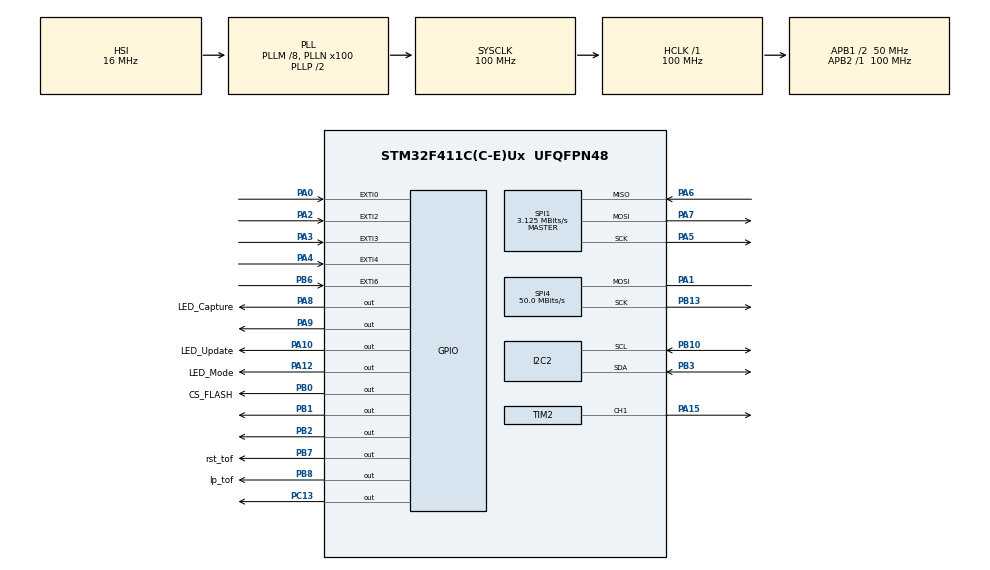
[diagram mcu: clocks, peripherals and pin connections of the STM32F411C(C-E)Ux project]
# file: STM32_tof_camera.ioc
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Dma.I2C2_RX.1.Direction=DMA_PERIPH_TO_MEMORY
Dma.I2C2_RX.1.FIFOMode=DMA_FIFOMODE_DISABLE
Dma.I2C2_RX.1.Instance=DMA1_Stream2
Dma.I2C2_RX.1.MemDataAlignment=DMA_MDATAALIGN_BYTE
Dma.I2C2_RX.1.MemInc=DMA_MINC_ENABLE
Dma.I2C2_RX.1.Mode=DMA_NORMAL
Dma.I2C2_RX.1.PeriphDataAlignment=DMA_PDATAALIGN_BYTE
Dma.I2C2_RX.1.PeriphInc=DMA_PINC_DISABLE
Dma.I2C2_RX.1.Priority=DMA_PRIORITY_HIGH
Dma.Request0=SPI4_TX
Dma.Request1=I2C2_RX
Dma.SPI4_TX.0.Direction=DMA_MEMORY_TO_PERIPH
Dma.SPI4_TX.0.FIFOMode=DMA_FIFOMODE_DISABLE
Dma.SPI4_TX.0.Instance=DMA2_Stream1
Dma.SPI4_TX.0.MemDataAlignment=DMA_MDATAALIGN_BYTE
Dma.SPI4_TX.0.MemInc=DMA_MINC_ENABLE
Dma.SPI4_TX.0.Mode=DMA_NORMAL
Dma.SPI4_TX.0.PeriphDataAlignment=DMA_PDATAALIGN_BYTE
Dma.SPI4_TX.0.PeriphInc=DMA_PINC_DISABLE
Dma.SPI4_TX.0.Priority=DMA_PRIORITY_VERY_HIGH
I2C2.I2C_Mode=I2C_Fast
I2C2.NoStretchMode=I2C_NOSTRETCH_DISABLE
Mcu.Family=STM32F4
Mcu.Name=STM32F411C(C-E)Ux
Mcu.Package=UFQFPN48
NVIC.DMA1_Stream2_IRQn=true\:6\:0\:true\:false\:true\:false\:true\:true
NVIC.DMA2_Stream1_IRQn=true\:9\:0\:true\:false\:true\:false\:true\:true
NVIC.EXTI0_IRQn=true\:12\:0\:true\:false\:true\:true\:true\:true
NVIC.EXTI2_IRQn=true\:13\:0\:true\:false\:true\:true\:true\:true
NVIC.EXTI3_IRQn=true\:11\:0\:true\:false\:true\:true\:true\:true
NVIC.EXTI4_IRQn=true\:10\:0\:true\:false\:true\:true\:true\:true
NVIC.EXTI9_5_IRQn=true\:8\:0\:true\:false\:true\:true\:true\:true
NVIC.I2C2_EV_IRQn=true\:5\:0\:true\:false\:true\:true\:true\:true
NVIC.PriorityGroup=NVIC_PRIORITYGROUP_4
NVIC.RCC_IRQn=true\:5\:0\:true\:false\:true\:true\:false\:true
NVIC.SPI4_IRQn=true\:7\:0\:true\:false\:true\:true\:true\:true
NVIC.TIM1_TRG_COM_TIM11_IRQn=true\:5\:0\:true\:false\:true\:false\:true\:true
NVIC.TimeBase=TIM1_TRG_COM_TIM11_IRQn
NVIC.TimeBaseIP=TIM11
PA0-WKUP.GPIO_ModeDefaultEXTI=GPIO_MODE_IT_FALLING
PA0-WKUP.GPIO_PuPd=GPIO_PULLUP
PA0-WKUP.Signal=GPXTI0
PA1.Mode=Simplex_Bidirectional_Master
PA1.Signal=SPI4_MOSI
PA10.GPIO_Label=LED_Update
PA10.GPIO_PuPd=GPIO_PULLDOWN
PA10.Signal=GPIO_Output
PA12.GPIO_Label=LED_Mode
PA12.GPIO_PuPd=GPIO_PULLDOWN
PA12.GPIO_Speed=GPIO_SPEED_FREQ_VERY_HIGH
PA12.Signal=GPIO_Output
PA13.Mode=Serial_Wire
PA13.Signal=SYS_JTMS-SWDIO
PA14.Mode=Serial_Wire
PA14.Signal=SYS_JTCK-SWCLK
PA15.Signal=S_TIM2_CH1_ETR
PA2.GPIO_ModeDefaultEXTI=GPIO_MODE_IT_FALLING
PA2.GPIO_PuPd=GPIO_PULLUP
PA2.Signal=GPXTI2
PA3.GPIO_ModeDefaultEXTI=GPIO_MODE_IT_FALLING
PA3.GPIO_PuPd=GPIO_PULLUP
PA3.Signal=GPXTI3
PA4.GPIO_ModeDefaultEXTI=GPIO_MODE_IT_FALLING
PA4.GPIO_PuPd=GPIO_PULLUP
PA4.Signal=GPXTI4
PA5.Mode=Full_Duplex_Master
PA5.Signal=SPI1_SCK
PA6.Mode=Full_Duplex_Master
PA6.Signal=SPI1_MISO
PA7.Mode=Full_Duplex_Master
PA7.Signal=SPI1_MOSI
PA8.GPIO_Label=LED_Capture
PA8.GPIO_PuPd=GPIO_PULLDOWN
PA8.Signal=GPIO_Output
PA9.GPIO_Speed=GPIO_SPEED_FREQ_HIGH
PA9.Signal=GPIO_Output
PB0.GPIO_Label=CS_FLASH
PB0.GPIO_PuPd=GPIO_PULLUP
PB0.GPIO_Speed=GPIO_SPEED_FREQ_VERY_HIGH
PB0.Signal=GPIO_Output
PB1.Signal=GPIO_Output
PB10.Mode=I2C
PB10.Signal=I2C2_SCL
PB13.Mode=Simplex_Bidirectional_Master
PB13.Signal=SPI4_SCK
PB2.Signal=GPIO_Output
PB3.GPIO_Pu=GPIO_PULLUP
PB3.Mode=I2C
PB3.Signal=I2C2_SDA
PB6.GPIO_ModeDefaultEXTI=GPIO_MODE_IT_FALLING
PB6.GPIO_PuPd=GPIO_NOPULL
PB6.Signal=GPXTI6
PB7.GPIO_Label=rst_tof
PB7.GPIO_PuPd=GPIO_NOPULL
PB7.GPIO_Speed=GPIO_SPEED_FREQ_VERY_HIGH
PB7.Signal=GPIO_Output
PB8.GPIO_Label=lp_tof
PB8.Signal=GPIO_Output
PC13-ANTI_TAMP.GPIO_PuPd=GPIO_NOPULL
PC13-ANTI_TAMP.Signal=GPIO_Output
PC14-OSC32_IN.Mode=LSE-External-Oscillator
PC14-OSC32_IN.Signal=RCC_OSC32_IN
PC15-OSC32_OUT.Mode=LSE-External-Oscillator
PC15-OSC32_OUT.Signal=RCC_OSC32_OUT
PH0\ -\ OSC_IN.Mode=HSE-External-Oscillator
PH0\ -\ OSC_IN.Signal=RCC_OSC_IN
PH1\ -\ OSC_OUT.Mode=HSE-External-Oscillator
PH1\ -\ OSC_OUT.Signal=RCC_OSC_OUT
ProjectManager.HeapSize=0x200
ProjectManager.StackSize=0x400
ProjectManager.TargetToolchain=STM32CubeIDE
RCC.48MHZClocksFreq_Value=50000000
RCC.AHBFreq_Value=100000000
RCC.APB1CLKDivider=RCC_HCLK_DIV2
RCC.APB1Freq_Value=50000000
RCC.APB1TimFreq_Value=100000000
RCC.APB2Freq_Value=100000000
RCC.APB2TimFreq_Value=100000000
RCC.CortexFreq_Value=100000000
RCC.HCLKFreq_Value=100000000
RCC.HSE_VALUE=25000000
RCC.HSI_VALUE=16000000
RCC.PLLM=8
RCC.PLLN=100
RCC.SYSCLKFreq_VALUE=100000000
RCC.SYSCLKSource=RCC_SYSCLKSOURCE_PLLCLK
RCC.VCOOutputFreq_Value=200000000
SH.S_TIM2_CH1_ETR.0=TIM2_CH1,PWM Generation1 CH1
SPI1.BaudRatePrescaler=SPI_BAUDRATEPRESCALER_32
SPI1.CalculateBaudRate=3.125 MBits/s
SPI1.Direction=SPI_DIRECTION_2LINES
SPI1.Mode=SPI_MODE_MASTER
SPI1.VirtualType=VM_MASTER
SPI4.BaudRatePrescaler=SPI_BAUDRATEPRESCALER_2
SPI4.CalculateBaudRate=50.0 MBits/s
SPI4.DataSize=SPI_DATASIZE_8BIT
SPI4.Direction=SPI_DIRECTION_1LINE
SPI4.FirstBit=SPI_FIRSTBIT_MSB
SPI4.Mode=SPI_MODE_MASTER
SPI4.VirtualType=VM_MASTER
TIM2.Channel-PWM\ Generation1\ CH1=TIM_CHANNEL_1
TIM3.Period=100-1
TIM3.Prescaler=5000-1
TIM4.Period=27000-1
TIM4.Prescaler=50-1
VP_SYS_VS_tim11.Mode=TIM11
VP_TIM2_VS_ClockSourceINT.Mode=Internal
VP_TIM3_VS_ClockSourceINT.Mode=Internal
VP_TIM4_VS_ClockSourceINT.Mode=Internal
board=custom

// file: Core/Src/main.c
/* USER CODE BEGIN Header */
/**
  ******************************************************************************
  * @file           : main.c
  * @brief          : Main program body
  ******************************************************************************
  * @attention
  *
  * Copyright (c) 2025 STMicroelectronics.
  * All rights reserved.
  *
  * This software is licensed under terms that can be found in the LICENSE file
  * in the root directory of this software component.
  * If no LICENSE file comes with this software, it is provided AS-IS.
  *
  ******************************************************************************
  */
/* USER CODE END Header */
#include "main.h"

/* USER CODE BEGIN Includes */
#include "st7735.h"
#include "testimg.h"
#include "fonts.h"
#include "arm_math.h"
#include "../../grapics/lvgl.h"

#include "vl53l5cx_api.h"
#include "flash.h"
#include "string.h"
#include <stddef.h>
#include <stdint.h>
#include "stdio.h"

#include "FreeRTOS.h"
#include "task.h"
#include "queue.h"
#include "list.h"

#include "tof.h"
#include "lvgl_func.h"
#include "display_tft.h"
#include "interpolation_heatmap.h"
/* USER CODE END Includes */

I2C_HandleTypeDef hi2c2;
DMA_HandleTypeDef hdma_i2c2_rx;

SPI_HandleTypeDef hspi1;
SPI_HandleTypeDef hspi4;
DMA_HandleTypeDef hdma_spi4_tx;

TIM_HandleTypeDef htim2;
TIM_HandleTypeDef htim3;
TIM_HandleTypeDef htim4;

/* USER CODE BEGIN PV */
int flag_tim2 = 0, tof_ini =0, exti_flag = 100;
int bt_task_pending =0, loading = 1;
extern uint32_t ID;
extern int16_t rData_int;
extern q15_t out_q15;
extern VL53L5CX_Configuration  Dev;            /* Sensor configuration */
extern VL53L5CX_ResultsData    Results;        /* Results data from VL53L5CX */
extern uint8_t Data_ready, rdMutiDMAflag, status, loop, isAlive, isReady, i,img_data;
extern int r_flag, interpolation, mode, ini, img;
extern int interpolation_menu, mode_menu, img_str, menu_mode;
extern volatile bool flag_update_heatmap;
extern volatile bool flag_update_labels;
extern volatile bool flag_use_rdata;
extern volatile lv_disp_drv_t disp_drv;
extern uint16_t stored_img;
/* USER CODE END PV */

void SystemClock_Config(void);
static void MX_GPIO_Init(void);
static void MX_DMA_Init(void);
static void MX_SPI1_Init(void);
static void MX_I2C2_Init(void);
static void MX_TIM3_Init(void);
static void MX_SPI4_Init(void);
static void MX_TIM4_Init(void);
static void MX_TIM2_Init(void);
/* USER CODE BEGIN PFP */
void render_task();
void button_task();
/* USER CODE END PFP */

/* USER CODE BEGIN 0 */

/*-----------------------------------------------------------*/
static void intiTask() __attribute__( ( noreturn ) );
static void renderTask() __attribute__( ( noreturn ) );
static void buttonTask() __attribute__( ( noreturn ) );

TaskHandle_t intiTask_handle = NULL;
TaskHandle_t renderTask_handle = NULL;
TaskHandle_t buttonTask_handle = NULL;
/*-----------------------------------------------------------*/
/* USER CODE END 0 */

int main(void)
{

  /* MCU Configuration--------------------------------------------------------*/

  /* Reset of all peripherals, Initializes the Flash interface and the Systick. */
  HAL_Init();

  /* Configure the system clock */
  SystemClock_Config();

  /* Initialize all configured peripherals */
  MX_GPIO_Init();
  MX_DMA_Init();
  MX_SPI1_Init();
  MX_I2C2_Init();
  MX_TIM3_Init();
  MX_SPI4_Init();
  MX_TIM4_Init();
  MX_TIM2_Init();
  /* USER CODE BEGIN 2 */

  TFT_init();
  lvgl_main_init();

( void ) xTaskCreate( &intiTask,
                    	"intiTSK",
						512,
                        NULL,
                        configMAX_PRIORITIES - 3U,
                        &intiTask_handle);

  ( void ) xTaskCreate( &renderTask,
                      	"renderTSK",
                          512,
                          NULL,
                          configMAX_PRIORITIES - 2U,
                          &renderTask_handle);

  ( void ) xTaskCreate( &buttonTask,
                      	"buttonTSK",
                          512,
                          NULL,
                          configMAX_PRIORITIES - 1U,
                          &buttonTask_handle);

  vTaskStartScheduler();
  /* USER CODE END 2 */

  /* Infinite loop */
  while (1)
  {

   }
}

void SystemClock_Config(void)
{
  RCC_OscInitTypeDef RCC_OscInitStruct = {0};
  RCC_ClkInitTypeDef RCC_ClkInitStruct = {0};

  /** Configure the main internal regulator output voltage
  */
  __HAL_RCC_PWR_CLK_ENABLE();
  __HAL_PWR_VOLTAGESCALING_CONFIG(PWR_REGULATOR_VOLTAGE_SCALE1);

  /** Initializes the RCC Oscillators according to the specified parameters
  * in the RCC_OscInitTypeDef structure.
  */
  RCC_OscInitStruct.OscillatorType = RCC_OSCILLATORTYPE_HSI;
  RCC_OscInitStruct.HSIState = RCC_HSI_ON;
  RCC_OscInitStruct.HSICalibrationValue = RCC_HSICALIBRATION_DEFAULT;
  RCC_OscInitStruct.PLL.PLLState = RCC_PLL_ON;
  RCC_OscInitStruct.PLL.PLLSource = RCC_PLLSOURCE_HSI;
  RCC_OscInitStruct.PLL.PLLM = 8;
  RCC_OscInitStruct.PLL.PLLN = 100;
  RCC_OscInitStruct.PLL.PLLP = RCC_PLLP_DIV2;
  RCC_OscInitStruct.PLL.PLLQ = 4;
  if (HAL_RCC_OscConfig(&RCC_OscInitStruct) != HAL_OK)
  {
    Error_Handler();
  }

  /** Initializes the CPU, AHB and APB buses clocks
  */
  RCC_ClkInitStruct.ClockType = RCC_CLOCKTYPE_HCLK|RCC_CLOCKTYPE_SYSCLK
                              |RCC_CLOCKTYPE_PCLK1|RCC_CLOCKTYPE_PCLK2;
  RCC_ClkInitStruct.SYSCLKSource = RCC_SYSCLKSOURCE_PLLCLK;
  RCC_ClkInitStruct.AHBCLKDivider = RCC_SYSCLK_DIV1;
  RCC_ClkInitStruct.APB1CLKDivider = RCC_HCLK_DIV2;
  RCC_ClkInitStruct.APB2CLKDivider = RCC_HCLK_DIV1;

  if (HAL_RCC_ClockConfig(&RCC_ClkInitStruct, FLASH_LATENCY_3) != HAL_OK)
  {
    Error_Handler();
  }
}

static void MX_I2C2_Init(void)
{

  hi2c2.Instance = I2C2;
  hi2c2.Init.ClockSpeed = 400000;
  hi2c2.Init.DutyCycle = I2C_DUTYCYCLE_2;
  hi2c2.Init.OwnAddress1 = 0;
  hi2c2.Init.AddressingMode = I2C_ADDRESSINGMODE_7BIT;
  hi2c2.Init.DualAddressMode = I2C_DUALADDRESS_DISABLE;
  hi2c2.Init.OwnAddress2 = 0;
  hi2c2.Init.GeneralCallMode = I2C_GENERALCALL_DISABLE;
  hi2c2.Init.NoStretchMode = I2C_NOSTRETCH_DISABLE;
  if (HAL_I2C_Init(&hi2c2) != HAL_OK)
  {
    Error_Handler();
  }

}

static void MX_SPI1_Init(void)
{

  /* SPI1 parameter configuration*/
  hspi1.Instance = SPI1;
  hspi1.Init.Mode = SPI_MODE_MASTER;
  hspi1.Init.Direction = SPI_DIRECTION_2LINES;
  hspi1.Init.DataSize = SPI_DATASIZE_8BIT;
  hspi1.Init.CLKPolarity = SPI_POLARITY_LOW;
  hspi1.Init.CLKPhase = SPI_PHASE_1EDGE;
  hspi1.Init.NSS = SPI_NSS_SOFT;
  hspi1.Init.BaudRatePrescaler = SPI_BAUDRATEPRESCALER_32;
  hspi1.Init.FirstBit = SPI_FIRSTBIT_MSB;
  hspi1.Init.TIMode = SPI_TIMODE_DISABLE;
  hspi1.Init.CRCCalculation = SPI_CRCCALCULATION_DISABLE;
  hspi1.Init.CRCPolynomial = 10;
  if (HAL_SPI_Init(&hspi1) != HAL_OK)
  {
    Error_Handler();
  }

}

static void MX_SPI4_Init(void)
{

  /* SPI4 parameter configuration*/
  hspi4.Instance = SPI4;
  hspi4.Init.Mode = SPI_MODE_MASTER;
  hspi4.Init.Direction = SPI_DIRECTION_1LINE;
  hspi4.Init.DataSize = SPI_DATASIZE_8BIT;
  hspi4.Init.CLKPolarity = SPI_POLARITY_LOW;
  hspi4.Init.CLKPhase = SPI_PHASE_1EDGE;
  hspi4.Init.NSS = SPI_NSS_SOFT;
  hspi4.Init.BaudRatePrescaler = SPI_BAUDRATEPRESCALER_2;
  hspi4.Init.FirstBit = SPI_FIRSTBIT_MSB;
  hspi4.Init.TIMode = SPI_TIMODE_DISABLE;
  hspi4.Init.CRCCalculation = SPI_CRCCALCULATION_DISABLE;
  hspi4.Init.CRCPolynomial = 10;
  if (HAL_SPI_Init(&hspi4) != HAL_OK)
  {
    Error_Handler();
  }

}

static void MX_TIM2_Init(void)
{

  TIM_ClockConfigTypeDef sClockSourceConfig = {0};
  TIM_MasterConfigTypeDef sMasterConfig = {0};
  TIM_OC_InitTypeDef sConfigOC = {0};

  htim2.Instance = TIM2;
  htim2.Init.Prescaler = 0;
  htim2.Init.CounterMode = TIM_COUNTERMODE_UP;
  htim2.Init.Period = 4294967295;
  htim2.Init.ClockDivision = TIM_CLOCKDIVISION_DIV1;
  htim2.Init.AutoReloadPreload = TIM_AUTORELOAD_PRELOAD_DISABLE;
  if (HAL_TIM_Base_Init(&htim2) != HAL_OK)
  {
    Error_Handler();
  }
  sClockSourceConfig.ClockSource = TIM_CLOCKSOURCE_INTERNAL;
  if (HAL_TIM_ConfigClockSource(&htim2, &sClockSourceConfig) != HAL_OK)
  {
    Error_Handler();
  }
  if (HAL_TIM_PWM_Init(&htim2) != HAL_OK)
  {
    Error_Handler();
  }
  sMasterConfig.MasterOutputTrigger = TIM_TRGO_RESET;
  sMasterConfig.MasterSlaveMode = TIM_MASTERSLAVEMODE_DISABLE;
  if (HAL_TIMEx_MasterConfigSynchronization(&htim2, &sMasterConfig) != HAL_OK)
  {
    Error_Handler();
  }
  sConfigOC.OCMode = TIM_OCMODE_PWM1;
  sConfigOC.Pulse = 0;
  sConfigOC.OCPolarity = TIM_OCPOLARITY_HIGH;
  sConfigOC.OCFastMode = TIM_OCFAST_DISABLE;
  if (HAL_TIM_PWM_ConfigChannel(&htim2, &sConfigOC, TIM_CHANNEL_1) != HAL_OK)
  {
    Error_Handler();
  }
  HAL_TIM_MspPostInit(&htim2);

}

static void MX_TIM3_Init(void)
{

  TIM_ClockConfigTypeDef sClockSourceConfig = {0};
  TIM_MasterConfigTypeDef sMasterConfig = {0};

  htim3.Instance = TIM3;
  htim3.Init.Prescaler = 5000-1;
  htim3.Init.CounterMode = TIM_COUNTERMODE_UP;
  htim3.Init.Period = 100-1;
  htim3.Init.ClockDivision = TIM_CLOCKDIVISION_DIV1;
  htim3.Init.AutoReloadPreload = TIM_AUTORELOAD_PRELOAD_DISABLE;
  if (HAL_TIM_Base_Init(&htim3) != HAL_OK)
  {
    Error_Handler();
  }
  sClockSourceConfig.ClockSource = TIM_CLOCKSOURCE_INTERNAL;
  if (HAL_TIM_ConfigClockSource(&htim3, &sClockSourceConfig) != HAL_OK)
  {
    Error_Handler();
  }
  sMasterConfig.MasterOutputTrigger = TIM_TRGO_RESET;
  sMasterConfig.MasterSlaveMode = TIM_MASTERSLAVEMODE_DISABLE;
  if (HAL_TIMEx_MasterConfigSynchronization(&htim3, &sMasterConfig) != HAL_OK)
  {
    Error_Handler();
  }

}

static void MX_TIM4_Init(void)
{

  TIM_ClockConfigTypeDef sClockSourceConfig = {0};
  TIM_MasterConfigTypeDef sMasterConfig = {0};

  htim4.Instance = TIM4;
  htim4.Init.Prescaler = 50-1;
  htim4.Init.CounterMode = TIM_COUNTERMODE_UP;
  htim4.Init.Period = 27000-1;
  htim4.Init.ClockDivision = TIM_CLOCKDIVISION_DIV1;
  htim4.Init.AutoReloadPreload = TIM_AUTORELOAD_PRELOAD_DISABLE;
  if (HAL_TIM_Base_Init(&htim4) != HAL_OK)
  {
    Error_Handler();
  }
  sClockSourceConfig.ClockSource = TIM_CLOCKSOURCE_INTERNAL;
  if (HAL_TIM_ConfigClockSource(&htim4, &sClockSourceConfig) != HAL_OK)
  {
    Error_Handler();
  }
  sMasterConfig.MasterOutputTrigger = TIM_TRGO_RESET;
  sMasterConfig.MasterSlaveMode = TIM_MASTERSLAVEMODE_DISABLE;
  if (HAL_TIMEx_MasterConfigSynchronization(&htim4, &sMasterConfig) != HAL_OK)
  {
    Error_Handler();
  }

}

static void MX_DMA_Init(void)
{

  /* DMA controller clock enable */
  __HAL_RCC_DMA2_CLK_ENABLE();
  __HAL_RCC_DMA1_CLK_ENABLE();

  /* DMA interrupt init */
  /* DMA1_Stream2_IRQn interrupt configuration */
  HAL_NVIC_SetPriority(DMA1_Stream2_IRQn, 6, 0);
  HAL_NVIC_EnableIRQ(DMA1_Stream2_IRQn);
  /* DMA2_Stream1_IRQn interrupt configuration */
  HAL_NVIC_SetPriority(DMA2_Stream1_IRQn, 9, 0);
  HAL_NVIC_EnableIRQ(DMA2_Stream1_IRQn);

}

static void MX_GPIO_Init(void)
{
  GPIO_InitTypeDef GPIO_InitStruct = {0};

  /* GPIO Ports Clock Enable */
  __HAL_RCC_GPIOC_CLK_ENABLE();
  __HAL_RCC_GPIOH_CLK_ENABLE();
  __HAL_RCC_GPIOA_CLK_ENABLE();
  __HAL_RCC_GPIOB_CLK_ENABLE();

  /*Configure GPIO pin Output Level */
  HAL_GPIO_WritePin(GPIOC, GPIO_PIN_13, GPIO_PIN_RESET);

  /*Configure GPIO pin Output Level */
  HAL_GPIO_WritePin(GPIOB, CS_FLASH_Pin|GPIO_PIN_1|GPIO_PIN_2|rst_tof_Pin
                          |lp_tof_Pin, GPIO_PIN_RESET);

  /*Configure GPIO pin Output Level */
  HAL_GPIO_WritePin(GPIOA, LED_Capture_Pin|GPIO_PIN_9|LED_Update_Pin|LED_Mode_Pin, GPIO_PIN_RESET);

  /*Configure GPIO pin : PC13 */
  GPIO_InitStruct.Pin = GPIO_PIN_13;
  GPIO_InitStruct.Mode = GPIO_MODE_OUTPUT_PP;
  GPIO_InitStruct.Pull = GPIO_NOPULL;
  GPIO_InitStruct.Speed = GPIO_SPEED_FREQ_LOW;
  HAL_GPIO_Init(GPIOC, &GPIO_InitStruct);

  /*Configure GPIO pins : PA0 PA2 PA3 PA4 */
  GPIO_InitStruct.Pin = GPIO_PIN_0|GPIO_PIN_2|GPIO_PIN_3|GPIO_PIN_4;
  GPIO_InitStruct.Mode = GPIO_MODE_IT_FALLING;
  GPIO_InitStruct.Pull = GPIO_PULLUP;
  HAL_GPIO_Init(GPIOA, &GPIO_InitStruct);

  /*Configure GPIO pin : CS_FLASH_Pin */
  GPIO_InitStruct.Pin = CS_FLASH_Pin;
  GPIO_InitStruct.Mode = GPIO_MODE_OUTPUT_PP;
  GPIO_InitStruct.Pull = GPIO_PULLUP;
  GPIO_InitStruct.Speed = GPIO_SPEED_FREQ_VERY_HIGH;
  HAL_GPIO_Init(CS_FLASH_GPIO_Port, &GPIO_InitStruct);

  /*Configure GPIO pins : PB1 PB2 lp_tof_Pin */
  GPIO_InitStruct.Pin = GPIO_PIN_1|GPIO_PIN_2|lp_tof_Pin;
  GPIO_InitStruct.Mode = GPIO_MODE_OUTPUT_PP;
  GPIO_InitStruct.Pull = GPIO_NOPULL;
  GPIO_InitStruct.Speed = GPIO_SPEED_FREQ_LOW;
  HAL_GPIO_Init(GPIOB, &GPIO_InitStruct);

  /*Configure GPIO pins : LED_Capture_Pin LED_Update_Pin */
  GPIO_InitStruct.Pin = LED_Capture_Pin|LED_Update_Pin;
  GPIO_InitStruct.Mode = GPIO_MODE_OUTPUT_PP;
  GPIO_InitStruct.Pull = GPIO_PULLDOWN;
  GPIO_InitStruct.Speed = GPIO_SPEED_FREQ_LOW;
  HAL_GPIO_Init(GPIOA, &GPIO_InitStruct);

  /*Configure GPIO pin : PA9 */
  GPIO_InitStruct.Pin = GPIO_PIN_9;
  GPIO_InitStruct.Mode = GPIO_MODE_OUTPUT_PP;
  GPIO_InitStruct.Pull = GPIO_NOPULL;
  GPIO_InitStruct.Speed = GPIO_SPEED_FREQ_HIGH;
  HAL_GPIO_Init(GPIOA, &GPIO_InitStruct);

  /*Configure GPIO pin : LED_Mode_Pin */
  GPIO_InitStruct.Pin = LED_Mode_Pin;
  GPIO_InitStruct.Mode = GPIO_MODE_OUTPUT_PP;
  GPIO_InitStruct.Pull = GPIO_PULLDOWN;
  GPIO_InitStruct.Speed = GPIO_SPEED_FREQ_VERY_HIGH;
  HAL_GPIO_Init(LED_Mode_GPIO_Port, &GPIO_InitStruct);

  /*Configure GPIO pin : PB6 */
  GPIO_InitStruct.Pin = GPIO_PIN_6;
  GPIO_InitStruct.Mode = GPIO_MODE_IT_FALLING;
  GPIO_InitStruct.Pull = GPIO_NOPULL;
  HAL_GPIO_Init(GPIOB, &GPIO_InitStruct);

  /*Configure GPIO pin : rst_tof_Pin */
  GPIO_InitStruct.Pin = rst_tof_Pin;
  GPIO_InitStruct.Mode = GPIO_MODE_OUTPUT_PP;
  GPIO_InitStruct.Pull = GPIO_NOPULL;
  GPIO_InitStruct.Speed = GPIO_SPEED_FREQ_VERY_HIGH;
  HAL_GPIO_Init(rst_tof_GPIO_Port, &GPIO_InitStruct);

  /* EXTI interrupt init*/
  HAL_NVIC_SetPriority(EXTI0_IRQn, 12, 0);
  HAL_NVIC_EnableIRQ(EXTI0_IRQn);

  HAL_NVIC_SetPriority(EXTI2_IRQn, 13, 0);
  HAL_NVIC_EnableIRQ(EXTI2_IRQn);

  HAL_NVIC_SetPriority(EXTI3_IRQn, 11, 0);
  HAL_NVIC_EnableIRQ(EXTI3_IRQn);

  HAL_NVIC_SetPriority(EXTI4_IRQn, 10, 0);
  HAL_NVIC_EnableIRQ(EXTI4_IRQn);

  HAL_NVIC_SetPriority(EXTI9_5_IRQn, 8, 0);
  HAL_NVIC_EnableIRQ(EXTI9_5_IRQn);

}

/* USER CODE BEGIN 4 */
static void intiTask()
{
	while(1)
	{
		ID = flashMEM_init();
		tof_ini = TOF_init(mode);
		vl53l5cx_start_ranging(&Dev);
		ini = 1;
		vTaskDelete(NULL);
        vTaskDelay(100);
	}
}

static void renderTask()
{
    while(1)
    {
    	if(ini == 1 && loading == 1)
    	{
    		if(Data_ready == 1 || mode )
            {
            	Data_ready =0;
                render_task();
                lvgl_screen_redering( interpolation, interpolation_menu, mode, mode_menu,1);
            }
    	}
    	else
    	{
    		lvgl_screen_redering( interpolation, interpolation_menu, mode, mode_menu,0);
    	}

        vTaskDelay(66);
    }
}
static void buttonTask()
{
    while(1)
    {
    	if(bt_task_pending == 1)
    	{
    		button_task();
    		bt_task_pending =0;
    	}
        vTaskDelay(55);
    }
}

void HAL_GPIO_EXTI_Callback(uint16_t GPIO_Pin)
{
    if(GPIO_Pin == GPIO_PIN_6)
    {
    	if(rdMutiDMAflag == 0 && tof_ini == 1)
    	{
            vl53l5cx_get_ranging_data(&Dev, &Results);
    	}
    }
    else
    {
    	loading =0;

        if(GPIO_Pin == GPIO_PIN_0) // INTERPOLATION TOGGLE (1x, 2x, 3x)
        {
            HAL_NVIC_DisableIRQ(EXTI0_IRQn);
            HAL_NVIC_DisableIRQ(EXTI9_5_IRQn);

        	text_update(6, "Changing Interpolation");
            exti_flag = 0;
        }
        else if(GPIO_Pin == GPIO_PIN_3) // ZONE TOGGLE (8x8, 4x4)
        {
        	HAL_NVIC_DisableIRQ(EXTI3_IRQn);
            HAL_NVIC_DisableIRQ(EXTI9_5_IRQn);

            text_update(6, "Changing Zone Mode");
            exti_flag = 3;

        }
        else if(GPIO_Pin == GPIO_PIN_4) // CAPTURE
        {
            HAL_NVIC_DisableIRQ(EXTI4_IRQn);
            HAL_NVIC_DisableIRQ(EXTI9_5_IRQn);

            text_update(6, "Capturing");
            exti_flag = 4;

        }
        else if(GPIO_Pin == GPIO_PIN_2) // MENU TOGGLE
        {
            HAL_NVIC_DisableIRQ(EXTI2_IRQn);
            HAL_NVIC_DisableIRQ(EXTI9_5_IRQn);

            text_update(6, "Changing LIVE/REC Mode");
            exti_flag = 2;
        }

        bt_task_pending = 1;
    }
}

void render_task()
{
    HAL_GPIO_TogglePin(GPIOC, GPIO_PIN_13);

    if(interpolation != 1)
    {
    	if(menu_mode == 0)
    	{
            load_input_int16_to_q15(Results.distance_mm);
    	}
    	else
    	{
            load_input_int16_to_q15((int16_t *)&stored_img);
    	}
        bilinear_init_q15();
        bilinear_8x8_to_16x16_q15();
    }

    flag_use_rdata = false;
    flag_update_heatmap = true;
}
void button_task()
{
    if(exti_flag == 0)
    {
    	interpolation = lvgl_intToggle(menu_mode,interpolation);

        if(menu_mode == 0)
        {
        	HAL_NVIC_EnableIRQ(EXTI9_5_IRQn);
        }
    }
    else if(exti_flag == 3)
    {
    	mode = lvgl_zoneToggle(menu_mode,mode,interpolation);

        if(menu_mode == 0)
        {
        	HAL_NVIC_EnableIRQ(EXTI9_5_IRQn);
        }
    }
    else if(exti_flag == 2)
    {
       menu_mode = lvgl_menuToggle(mode, menu_mode, interpolation);
       image(img_str);
       Data_ready = 1;

    }
    else if(exti_flag == 4)
    {
        capture_img(mode,interpolation);

        if(menu_mode == 0)
        {
        	HAL_NVIC_EnableIRQ(EXTI9_5_IRQn);
        }
    }

	HAL_NVIC_EnableIRQ(EXTI4_IRQn);
    HAL_NVIC_EnableIRQ(EXTI3_IRQn);
    HAL_NVIC_EnableIRQ(EXTI0_IRQn);
    HAL_NVIC_EnableIRQ(EXTI2_IRQn);

    loading = 1;
    exti_flag = 100;
}

void HAL_SPI_TxCpltCallback(SPI_HandleTypeDef *hspi)
{
    if (hspi->Instance == SPI4 || hspi->Instance == SPI1)
    {
        lv_disp_flush_ready(&disp_drv);
    }
}
/* USER CODE END 4 */

void HAL_TIM_PeriodElapsedCallback(TIM_HandleTypeDef *htim)
{
  if (htim->Instance == TIM11)
  {
	  lv_tick_inc(1);
    HAL_IncTick();
  }
}

void Error_Handler(void)
{
  __disable_irq();
  while (1)
  {
  }
}
